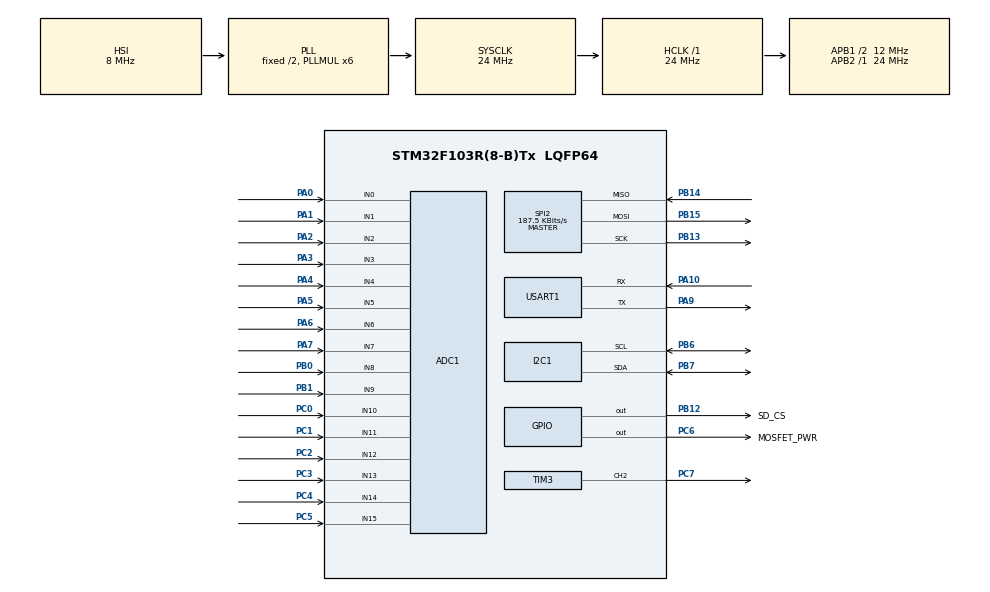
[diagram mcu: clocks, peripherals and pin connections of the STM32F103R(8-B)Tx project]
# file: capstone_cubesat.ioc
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ADC1.Channel-0\#ChannelRegularConversion=ADC_CHANNEL_0
ADC1.ContinuousConvMode=DISABLE
ADC1.EnableAnalogWatchDog=false
ADC1.NbrOfConversion=1
ADC1.NbrOfConversionFlag=1
ADC1.Rank-0\#ChannelRegularConversion=1
ADC1.SamplingTime-0\#ChannelRegularConversion=ADC_SAMPLETIME_7CYCLES_5
ADC1.master=1
I2C1.GeneralCallMode=I2C_GENERALCALL_DISABLE
I2C1.OwnAddress=0x13
Mcu.Family=STM32F1
Mcu.Name=STM32F103R(8-B)Tx
Mcu.Package=LQFP64
NVIC.I2C1_ER_IRQn=true\:0\:0\:false\:false\:true\:true\:true\:true
NVIC.I2C1_EV_IRQn=true\:0\:0\:false\:false\:true\:true\:true\:true
NVIC.PriorityGroup=NVIC_PRIORITYGROUP_4
NVIC.TIM2_IRQn=true\:0\:0\:false\:false\:true\:true\:true\:true
PA0-WKUP.Signal=ADCx_IN0
PA1.Signal=ADCx_IN1
PA10.Mode=Asynchronous
PA10.Signal=USART1_RX
PA13.GPIO_Label=TMS
PA13.Mode=Serial_Wire
PA13.Signal=SYS_JTMS-SWDIO
PA14.GPIO_Label=TCK
PA14.Mode=Serial_Wire
PA14.Signal=SYS_JTCK-SWCLK
PA2.Signal=ADCx_IN2
PA3.Signal=ADCx_IN3
PA4.Signal=ADCx_IN4
PA5.Signal=ADCx_IN5
PA6.Signal=ADCx_IN6
PA7.Signal=ADCx_IN7
PA9.Mode=Asynchronous
PA9.Signal=USART1_TX
PB0.Signal=ADCx_IN8
PB1.Signal=ADCx_IN9
PB12.GPIO_Label=SD_CS
PB12.Signal=GPIO_Output
PB13.Mode=Full_Duplex_Master
PB13.Signal=SPI2_SCK
PB14.Mode=Full_Duplex_Master
PB14.Signal=SPI2_MISO
PB15.Mode=Full_Duplex_Master
PB15.Signal=SPI2_MOSI
PB3.GPIO_Label=SWO
PB3.Signal=SYS_JTDO-TRACESWO
PB6.Mode=I2C
PB6.Signal=I2C1_SCL
PB7.Mode=I2C
PB7.Signal=I2C1_SDA
PC0.Signal=ADCx_IN10
PC1.Signal=ADCx_IN11
PC14-OSC32_IN.Mode=LSE-External-Oscillator
PC14-OSC32_IN.Signal=RCC_OSC32_IN
PC15-OSC32_OUT.Mode=LSE-External-Oscillator
PC15-OSC32_OUT.Signal=RCC_OSC32_OUT
PC2.Signal=ADCx_IN12
PC3.Signal=ADCx_IN13
PC4.Signal=ADCx_IN14
PC5.Signal=ADCx_IN15
PC6.GPIO_Label=MOSFET_PWR
PC6.Signal=GPIO_Output
PC7.Signal=S_TIM3_CH2
PD0-OSC_IN.Mode=HSE-External-Clock-Source
PD0-OSC_IN.Signal=RCC_OSC_IN
PD1-OSC_OUT.Mode=HSE-External-Clock-Source
PD1-OSC_OUT.Signal=RCC_OSC_OUT
ProjectManager.HeapSize=0x200
ProjectManager.StackSize=0x400
ProjectManager.TargetToolchain=STM32CubeIDE
RCC.AHBFreq_Value=24000000
RCC.APB1CLKDivider=RCC_HCLK_DIV2
RCC.APB1Freq_Value=12000000
RCC.APB1TimFreq_Value=24000000
RCC.APB2Freq_Value=24000000
RCC.APB2TimFreq_Value=24000000
RCC.HCLKFreq_Value=24000000
RCC.PLLMUL=RCC_PLL_MUL6
RCC.SYSCLKFreq_VALUE=24000000
RCC.SYSCLKSource=RCC_SYSCLKSOURCE_PLLCLK
RCC.USBFreq_Value=24000000
RTC.Date=23
RTC.Hours=21
RTC.Minutes=16
RTC.Month=RTC_MONTH_APRIL
RTC.OutPut=RTC_OUTPUTSOURCE_NONE
RTC.Year=25
SH.ADCx_IN0.0=ADC1_IN0,IN0
SH.ADCx_IN1.0=ADC1_IN1,IN1
SH.ADCx_IN10.0=ADC1_IN10,IN10
SH.ADCx_IN11.0=ADC1_IN11,IN11
SH.ADCx_IN12.0=ADC1_IN12,IN12
SH.ADCx_IN13.0=ADC1_IN13,IN13
SH.ADCx_IN14.0=ADC1_IN14,IN14
SH.ADCx_IN15.0=ADC1_IN15,IN15
SH.ADCx_IN2.0=ADC1_IN2,IN2
SH.ADCx_IN3.0=ADC1_IN3,IN3
SH.ADCx_IN4.0=ADC1_IN4,IN4
SH.ADCx_IN5.0=ADC1_IN5,IN5
SH.ADCx_IN6.0=ADC1_IN6,IN6
SH.ADCx_IN7.0=ADC1_IN7,IN7
SH.ADCx_IN8.0=ADC1_IN8,IN8
SH.ADCx_IN9.0=ADC1_IN9,IN9
SH.S_TIM3_CH2.0=TIM3_CH2,PWM Generation2 CH2
SPI2.BaudRatePrescaler=SPI_BAUDRATEPRESCALER_64
SPI2.CalculateBaudRate=187.5 KBits/s
SPI2.Direction=SPI_DIRECTION_2LINES
SPI2.Mode=SPI_MODE_MASTER
SPI2.VirtualType=VM_MASTER
TIM1.Prescaler=24-1
TIM2.Period=43200-1
TIM3.Channel-PWM\ Generation2\ CH2=TIM_CHANNEL_2
TIM3.Period=100-1
TIM3.Prescaler=2400-1
TIM4.Period=1000-1
TIM4.Prescaler=24000-1
TIM4.TIM_MasterOutputTrigger=TIM_TRGO_UPDATE
USART1.VirtualMode=VM_ASYNC
VP_FATFS_VS_Generic.Mode=User_defined
VP_RTC_No_RTC_Output.Mode=RTC_OUT_NO
VP_RTC_VS_RTC_Activate.Mode=RTC_Enabled
VP_RTC_VS_RTC_Calendar.Mode=RTC_Calendar
VP_TIM1_VS_ClockSourceINT.Mode=Internal
VP_TIM2_VS_ClockSourceITR.Mode=TriggerSource_ITR3
VP_TIM2_VS_ControllerModeClock.Mode=Clock Mode
VP_TIM3_VS_ClockSourceINT.Mode=Internal
VP_TIM4_VS_ClockSourceINT.Mode=Internal
board=NUCLEO-F103RB

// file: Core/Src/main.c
/* USER CODE BEGIN Header */
/**
 ******************************************************************************
 * @file           : main.c
 * @brief          : Main program body
 ******************************************************************************
 * @attention
 *
 * Copyright (c) 2024 STMicroelectronics.
 * All rights reserved.
 *
 * This software is licensed under terms that can be found in the LICENSE file
 * in the root directory of this software component.
 * If no LICENSE file comes with this software, it is provided AS-IS.
 *
 ******************************************************************************
 */
/* USER CODE END Header */
#include "main.h"
#include "fatfs.h"

/* USER CODE BEGIN Includes */
#include "sdcard.h"
#include "i2c_slave.h"
#include "adc.h"
#include "i2c_queue.h"
/* USER CODE END Includes */

ADC_HandleTypeDef hadc1;

I2C_HandleTypeDef hi2c1;

RTC_HandleTypeDef hrtc;

SPI_HandleTypeDef hspi2;

TIM_HandleTypeDef htim1;
TIM_HandleTypeDef htim2;
TIM_HandleTypeDef htim3;
TIM_HandleTypeDef htim4;

UART_HandleTypeDef huart1;

void SystemClock_Config(void);
static void MX_GPIO_Init(void);
static void MX_USART1_UART_Init(void);
static void MX_ADC1_Init(void);
static void MX_SPI2_Init(void);
static void MX_TIM3_Init(void);
static void MX_TIM1_Init(void);
static void MX_I2C1_Init(void);
static void MX_TIM2_Init(void);
static void MX_TIM4_Init(void);
static void MX_RTC_Init(void);
/* USER CODE BEGIN PFP */
#ifdef __GNUC__
#define PUTCHAR_PROTOTYPE int __io_putchar(int ch)
#else
#define PUTCHAR_PROTOTYPE int fputc(int ch, FILE *f)
#endif

PUTCHAR_PROTOTYPE {
	HAL_UART_Transmit(&huart1, (uint8_t*) &ch, 1, HAL_MAX_DELAY);
	return ch;
}
/* USER CODE END PFP */

/* USER CODE BEGIN 0 */

/*//old interrupt to wake system up using a push button
 void HAL_GPIO_EXTI_Callback(uint16_t GPIO_Pin)
 {
 HAL_ResumeTick();
 }
 */

volatile uint8_t timer_flag = 0;
static volatile uint8_t busyFlag = 0;

uint8_t busy_flag_getter()
{
	return busyFlag;
}

void HAL_TIM_PeriodElapsedCallback(TIM_HandleTypeDef *htim)
{
	//HAL_ResumeTick();
    if (htim->Instance == TIM2)
    {
        // TIM4 just overflowed -> 12 hours elapsed
        // Do your code here
    	if (busyFlag == false){
    		timer_flag = 1;
    	}
    }
}

void turn_on_5v_plane(void) {
	// turn on +5v plane
	HAL_GPIO_WritePin(GPIOC, GPIO_PIN_6, GPIO_PIN_SET);
}

void turn_off_5v_plane(void) {
	// turn off +5v plane
	HAL_GPIO_WritePin(GPIOC, GPIO_PIN_6, GPIO_PIN_RESET);
}

//turn on at the beginning of the main function, when the system go out of the power saving mode
//turn off when the system going into the power saving mode
void turn_on_PWM_gen(void) {
	HAL_TIM_PWM_Start(&htim3, TIM_CHANNEL_2);
	TIM3->CCR2 = 50;
}

void turn_off_PWM_gen(void) {
	HAL_TIM_PWM_Stop(&htim3, TIM_CHANNEL_2);
}

void main_routine(void) {
	busyFlag = 1;
	printf("fully initialized, +5V devices off, delaying 5 seconds\r\n");
	HAL_Delay(5000);

	printf("busy=%u\r\n", busy_flag_getter());
	//turn_on_5v_plane();

	printf("+5V device powered, delaying 5 seconds\r\n");
	HAL_Delay(5000);

	//--------------------------- start cycle

	mount_sdcard();
	print_sdcard_stats();

	// keep the filename as short as possible
	// e.g. "sample" can only write 10 files before it doesnt want to make anymore
	// this is a bug
	open_sdcard_file_write("s");

	// may need to keep small or increase max size in write function if this gets too long
	//need to add a time stamp when the data was recorded
	write_sdcard_file(
			"op_noshd_p,op_mel_p,op_al_p,vref_noshd,vref_mel,vref_al,lm35,opto_noshd,opto_mel,opto_al\r\n");

	const uint32_t num_samples = 5; // 2sec 450 samples = 15minutes

	for (int cnt = 0; cnt < num_samples; cnt++) {

		// order is very important here, since it correlates to order of data written to csv
		preform_opamp_measurement_log_to_sd();
		printf("------------------------------\r\n");
		preform_vref_measurement_log_to_sd();
		printf("------------------------------\r\n");
		read_lm35();
		printf("------------------------------\r\n");
		preform_opto_measurement_log_to_sd();
		printf("------------------------------\r\n");

		// new row
		write_sdcard_file("\r\n");
		HAL_Delay(2000);
	}

	printf("all done\r\n");

	close_sdcard_file();

	// always do this after testing is done so if power is cut, no data is lost
	unmount_sdcard();

	//turn_off_5v_plane();

	//printf("+5V devices off, delaying 5 seconds\r\n");
	HAL_Delay(5000);

	//------------------------- end cycle

	printf("Entering sleep mode, delaying 5 seconds\r\n");
	printf("busy=%u\r\n", busy_flag_getter());
	HAL_Delay(5000);
	busyFlag = 0;
	i2c_set_busy(0);
	i2c_set_ready(1);
}

/* USER CODE END 0 */

int main(void)
{

  /* MCU Configuration--------------------------------------------------------*/

  /* Reset of all peripherals, Initializes the Flash interface and the Systick. */
  HAL_Init();

  /* Configure the system clock */
  SystemClock_Config();

  /* Initialize all configured peripherals */
  MX_GPIO_Init();
  MX_USART1_UART_Init();
  MX_ADC1_Init();
  MX_SPI2_Init();
  MX_FATFS_Init();
  MX_TIM3_Init();
  MX_TIM1_Init();
  MX_I2C1_Init();
  MX_TIM2_Init();
  MX_TIM4_Init();
  MX_RTC_Init();
  /* USER CODE BEGIN 2 */

	//a short delay is important to let the SD card settle
	HAL_Delay(1000);

	HAL_TIM_Base_Start(&htim1);

	// obc enable interrupt listen
	HAL_I2C_EnableListen_IT(&hi2c1);

	// Start TIM2 (master)
	HAL_TIM_Base_Start(&htim4);
	// Start TIM4 (slave) with interrupt
	HAL_TIM_Base_Start_IT(&htim2);

	turn_on_PWM_gen();

	turn_on_5v_plane();

	printf("Entering the main function\r\n");
	//TODO: Needed else the main routine will be executed once when entering the while 1 loop
	timer_flag = 0;
	i2c_flag_reset();
	busyFlag = 0;

	//printf("loading buffer\r\n");
	//load_buf();

  /* USER CODE END 2 */

  /* Infinite loop */
	while (1) {

    /* USER CODE BEGIN 3 */
		//Will be replaced with an interrupt based routine
		//The system wakes up from the sleep every 12 hrs and perform the routine
		//the sleep is interruptible by the i2c commands
		/*
		 * TODO
		 * Load the latest data collected and error logs to the buffers
		 * */
		//when programming please comment out this suspendtick
		//else it is going to be a nightmare to load code onto the stm
		//HAL_SuspendTick();
		if(!is_i2c_cmd_pending())
		{HAL_PWR_EnterSLEEPMode(PWR_MAINREGULATOR_ON, PWR_SLEEPENTRY_WFI);
		// wake up when there is an interrupt
		HAL_ResumeTick();}
		uint8_t i2c_flag_main = i2c_flag_getter();

		if (!busy_flag_getter() && is_i2c_cmd_pending())
		{
			if (is_i2c_reinit_needed && !busy_flag_getter()) {
				is_i2c_reinit_needed = 0;
			    HAL_I2C_DeInit(&hi2c1);
			    MX_I2C1_Init();
			    HAL_I2C_EnableListen_IT(&hi2c1);
			}

			uint8_t current_cmd = dequeue_i2c_cmd();
			switch(current_cmd)
			{
				case I2C_CMD_START:
					busyFlag = 1;
					i2c_set_busy(1);
					i2c_set_ready(0);
					main_routine();
					timer_flag = 0;
					i2c_flag_reset();
					busyFlag = 0;
					break;
				case I2C_CMD_SEND_DATA:
					busyFlag = 1;
					printf("loading buffer\r\n");
					load_buf();
					i2c_flag_reset();
					busyFlag = 0;
					break;
		        case I2C_CMD_PWRSAV: // turn off the 5V supply for the testing ICs
		        	turn_off_5v_plane();
		        	pwr_flag_setter(PWR_SAV);
		        	HAL_TIM_Base_Stop_IT(&htim2);
		            break;
		        case I2C_CMD_PWRNOR:
		        	turn_on_5v_plane();
		        	pwr_flag_setter(PWR_NOR);
		        	HAL_TIM_Base_Start_IT(&htim2);
		        	break;
		        case I2C_CMD_RESET:
		            HAL_NVIC_SystemReset();
		            break;
			}
		}
		if(timer_flag)
		{
			busyFlag = 1;
			main_routine();
			timer_flag = 0;
			i2c_flag_reset();
			busyFlag = 0;
		}
		if(pwr_flag_getter())
		{
			printf("power saving mode\r\n");
		}
	}
  /* USER CODE END 3 */
}

void SystemClock_Config(void)
{
  RCC_OscInitTypeDef RCC_OscInitStruct = {0};
  RCC_ClkInitTypeDef RCC_ClkInitStruct = {0};
  RCC_PeriphCLKInitTypeDef PeriphClkInit = {0};

  /** Initializes the RCC Oscillators according to the specified parameters
  * in the RCC_OscInitTypeDef structure.
  */
  RCC_OscInitStruct.OscillatorType = RCC_OSCILLATORTYPE_HSI|RCC_OSCILLATORTYPE_LSI;
  RCC_OscInitStruct.HSIState = RCC_HSI_ON;
  RCC_OscInitStruct.HSICalibrationValue = RCC_HSICALIBRATION_DEFAULT;
  RCC_OscInitStruct.LSIState = RCC_LSI_ON;
  RCC_OscInitStruct.PLL.PLLState = RCC_PLL_ON;
  RCC_OscInitStruct.PLL.PLLSource = RCC_PLLSOURCE_HSI_DIV2;
  RCC_OscInitStruct.PLL.PLLMUL = RCC_PLL_MUL6;
  if (HAL_RCC_OscConfig(&RCC_OscInitStruct) != HAL_OK)
  {
    Error_Handler();
  }

  /** Initializes the CPU, AHB and APB buses clocks
  */
  RCC_ClkInitStruct.ClockType = RCC_CLOCKTYPE_HCLK|RCC_CLOCKTYPE_SYSCLK
                              |RCC_CLOCKTYPE_PCLK1|RCC_CLOCKTYPE_PCLK2;
  RCC_ClkInitStruct.SYSCLKSource = RCC_SYSCLKSOURCE_PLLCLK;
  RCC_ClkInitStruct.AHBCLKDivider = RCC_SYSCLK_DIV1;
  RCC_ClkInitStruct.APB1CLKDivider = RCC_HCLK_DIV2;
  RCC_ClkInitStruct.APB2CLKDivider = RCC_HCLK_DIV1;

  if (HAL_RCC_ClockConfig(&RCC_ClkInitStruct, FLASH_LATENCY_0) != HAL_OK)
  {
    Error_Handler();
  }
  PeriphClkInit.PeriphClockSelection = RCC_PERIPHCLK_RTC|RCC_PERIPHCLK_ADC;
  PeriphClkInit.RTCClockSelection = RCC_RTCCLKSOURCE_LSI;
  PeriphClkInit.AdcClockSelection = RCC_ADCPCLK2_DIV2;
  if (HAL_RCCEx_PeriphCLKConfig(&PeriphClkInit) != HAL_OK)
  {
    Error_Handler();
  }
}

static void MX_ADC1_Init(void)
{

  ADC_ChannelConfTypeDef sConfig = {0};

  /** Common config
  */
  hadc1.Instance = ADC1;
  hadc1.Init.ScanConvMode = ADC_SCAN_DISABLE;
  hadc1.Init.ContinuousConvMode = DISABLE;
  hadc1.Init.DiscontinuousConvMode = DISABLE;
  hadc1.Init.ExternalTrigConv = ADC_SOFTWARE_START;
  hadc1.Init.DataAlign = ADC_DATAALIGN_RIGHT;
  hadc1.Init.NbrOfConversion = 1;
  if (HAL_ADC_Init(&hadc1) != HAL_OK)
  {
    Error_Handler();
  }

  /** Configure Regular Channel
  */
  sConfig.Channel = ADC_CHANNEL_0;
  sConfig.Rank = ADC_REGULAR_RANK_1;
  sConfig.SamplingTime = ADC_SAMPLETIME_7CYCLES_5;
  if (HAL_ADC_ConfigChannel(&hadc1, &sConfig) != HAL_OK)
  {
    Error_Handler();
  }

}

static void MX_I2C1_Init(void)
{

  hi2c1.Instance = I2C1;
  hi2c1.Init.ClockSpeed = 100000;
  hi2c1.Init.DutyCycle = I2C_DUTYCYCLE_2;
  hi2c1.Init.OwnAddress1 = 38;
  hi2c1.Init.AddressingMode = I2C_ADDRESSINGMODE_7BIT;
  hi2c1.Init.DualAddressMode = I2C_DUALADDRESS_DISABLE;
  hi2c1.Init.OwnAddress2 = 0;
  hi2c1.Init.GeneralCallMode = I2C_GENERALCALL_DISABLE;
  hi2c1.Init.NoStretchMode = I2C_NOSTRETCH_DISABLE;
  if (HAL_I2C_Init(&hi2c1) != HAL_OK)
  {
    Error_Handler();
  }

}

static void MX_RTC_Init(void)
{

  RTC_TimeTypeDef sTime = {0};
  RTC_DateTypeDef DateToUpdate = {0};

  /** Initialize RTC Only
  */
  hrtc.Instance = RTC;
  hrtc.Init.AsynchPrediv = RTC_AUTO_1_SECOND;
  hrtc.Init.OutPut = RTC_OUTPUTSOURCE_NONE;
  if (HAL_RTC_Init(&hrtc) != HAL_OK)
  {
    Error_Handler();
  }

  /** Initialize RTC and set the Time and Date
  */
  sTime.Hours = 0x21;
  sTime.Minutes = 0x16;
  sTime.Seconds = 0x0;

  if (HAL_RTC_SetTime(&hrtc, &sTime, RTC_FORMAT_BCD) != HAL_OK)
  {
    Error_Handler();
  }
  DateToUpdate.WeekDay = RTC_WEEKDAY_MONDAY;
  DateToUpdate.Month = RTC_MONTH_APRIL;
  DateToUpdate.Date = 0x23;
  DateToUpdate.Year = 0x25;

  if (HAL_RTC_SetDate(&hrtc, &DateToUpdate, RTC_FORMAT_BCD) != HAL_OK)
  {
    Error_Handler();
  }

}

static void MX_SPI2_Init(void)
{

  /* SPI2 parameter configuration*/
  hspi2.Instance = SPI2;
  hspi2.Init.Mode = SPI_MODE_MASTER;
  hspi2.Init.Direction = SPI_DIRECTION_2LINES;
  hspi2.Init.DataSize = SPI_DATASIZE_8BIT;
  hspi2.Init.CLKPolarity = SPI_POLARITY_LOW;
  hspi2.Init.CLKPhase = SPI_PHASE_1EDGE;
  hspi2.Init.NSS = SPI_NSS_SOFT;
  hspi2.Init.BaudRatePrescaler = SPI_BAUDRATEPRESCALER_64;
  hspi2.Init.FirstBit = SPI_FIRSTBIT_MSB;
  hspi2.Init.TIMode = SPI_TIMODE_DISABLE;
  hspi2.Init.CRCCalculation = SPI_CRCCALCULATION_DISABLE;
  hspi2.Init.CRCPolynomial = 10;
  if (HAL_SPI_Init(&hspi2) != HAL_OK)
  {
    Error_Handler();
  }

}

static void MX_TIM1_Init(void)
{

  TIM_ClockConfigTypeDef sClockSourceConfig = {0};
  TIM_MasterConfigTypeDef sMasterConfig = {0};

  htim1.Instance = TIM1;
  htim1.Init.Prescaler = 24-1;
  htim1.Init.CounterMode = TIM_COUNTERMODE_UP;
  htim1.Init.Period = 65535;
  htim1.Init.ClockDivision = TIM_CLOCKDIVISION_DIV1;
  htim1.Init.RepetitionCounter = 0;
  htim1.Init.AutoReloadPreload = TIM_AUTORELOAD_PRELOAD_DISABLE;
  if (HAL_TIM_Base_Init(&htim1) != HAL_OK)
  {
    Error_Handler();
  }
  sClockSourceConfig.ClockSource = TIM_CLOCKSOURCE_INTERNAL;
  if (HAL_TIM_ConfigClockSource(&htim1, &sClockSourceConfig) != HAL_OK)
  {
    Error_Handler();
  }
  sMasterConfig.MasterOutputTrigger = TIM_TRGO_RESET;
  sMasterConfig.MasterSlaveMode = TIM_MASTERSLAVEMODE_DISABLE;
  if (HAL_TIMEx_MasterConfigSynchronization(&htim1, &sMasterConfig) != HAL_OK)
  {
    Error_Handler();
  }

}

static void MX_TIM2_Init(void)
{

  TIM_SlaveConfigTypeDef sSlaveConfig = {0};
  TIM_MasterConfigTypeDef sMasterConfig = {0};

  htim2.Instance = TIM2;
  htim2.Init.Prescaler = 0;
  htim2.Init.CounterMode = TIM_COUNTERMODE_UP;
  htim2.Init.Period = 43200-1;
  htim2.Init.ClockDivision = TIM_CLOCKDIVISION_DIV1;
  htim2.Init.AutoReloadPreload = TIM_AUTORELOAD_PRELOAD_DISABLE;
  if (HAL_TIM_Base_Init(&htim2) != HAL_OK)
  {
    Error_Handler();
  }
  sSlaveConfig.SlaveMode = TIM_SLAVEMODE_EXTERNAL1;
  sSlaveConfig.InputTrigger = TIM_TS_ITR3;
  if (HAL_TIM_SlaveConfigSynchro(&htim2, &sSlaveConfig) != HAL_OK)
  {
    Error_Handler();
  }
  sMasterConfig.MasterOutputTrigger = TIM_TRGO_RESET;
  sMasterConfig.MasterSlaveMode = TIM_MASTERSLAVEMODE_DISABLE;
  if (HAL_TIMEx_MasterConfigSynchronization(&htim2, &sMasterConfig) != HAL_OK)
  {
    Error_Handler();
  }

}

static void MX_TIM3_Init(void)
{

  TIM_ClockConfigTypeDef sClockSourceConfig = {0};
  TIM_MasterConfigTypeDef sMasterConfig = {0};
  TIM_OC_InitTypeDef sConfigOC = {0};

  htim3.Instance = TIM3;
  htim3.Init.Prescaler = 2400-1;
  htim3.Init.CounterMode = TIM_COUNTERMODE_UP;
  htim3.Init.Period = 100-1;
  htim3.Init.ClockDivision = TIM_CLOCKDIVISION_DIV1;
  htim3.Init.AutoReloadPreload = TIM_AUTORELOAD_PRELOAD_DISABLE;
  if (HAL_TIM_Base_Init(&htim3) != HAL_OK)
  {
    Error_Handler();
  }
  sClockSourceConfig.ClockSource = TIM_CLOCKSOURCE_INTERNAL;
  if (HAL_TIM_ConfigClockSource(&htim3, &sClockSourceConfig) != HAL_OK)
  {
    Error_Handler();
  }
  if (HAL_TIM_PWM_Init(&htim3) != HAL_OK)
  {
    Error_Handler();
  }
  sMasterConfig.MasterOutputTrigger = TIM_TRGO_RESET;
  sMasterConfig.MasterSlaveMode = TIM_MASTERSLAVEMODE_DISABLE;
  if (HAL_TIMEx_MasterConfigSynchronization(&htim3, &sMasterConfig) != HAL_OK)
  {
    Error_Handler();
  }
  sConfigOC.OCMode = TIM_OCMODE_PWM1;
  sConfigOC.Pulse = 0;
  sConfigOC.OCPolarity = TIM_OCPOLARITY_HIGH;
  sConfigOC.OCFastMode = TIM_OCFAST_DISABLE;
  if (HAL_TIM_PWM_ConfigChannel(&htim3, &sConfigOC, TIM_CHANNEL_2) != HAL_OK)
  {
    Error_Handler();
  }
  HAL_TIM_MspPostInit(&htim3);

}

static void MX_TIM4_Init(void)
{

  TIM_ClockConfigTypeDef sClockSourceConfig = {0};
  TIM_MasterConfigTypeDef sMasterConfig = {0};

  htim4.Instance = TIM4;
  htim4.Init.Prescaler = 24000-1;
  htim4.Init.CounterMode = TIM_COUNTERMODE_UP;
  htim4.Init.Period = 1000-1;
  htim4.Init.ClockDivision = TIM_CLOCKDIVISION_DIV1;
  htim4.Init.AutoReloadPreload = TIM_AUTORELOAD_PRELOAD_DISABLE;
  if (HAL_TIM_Base_Init(&htim4) != HAL_OK)
  {
    Error_Handler();
  }
  sClockSourceConfig.ClockSource = TIM_CLOCKSOURCE_INTERNAL;
  if (HAL_TIM_ConfigClockSource(&htim4, &sClockSourceConfig) != HAL_OK)
  {
    Error_Handler();
  }
  sMasterConfig.MasterOutputTrigger = TIM_TRGO_UPDATE;
  sMasterConfig.MasterSlaveMode = TIM_MASTERSLAVEMODE_DISABLE;
  if (HAL_TIMEx_MasterConfigSynchronization(&htim4, &sMasterConfig) != HAL_OK)
  {
    Error_Handler();
  }

}

static void MX_USART1_UART_Init(void)
{

  huart1.Instance = USART1;
  huart1.Init.BaudRate = 115200;
  huart1.Init.WordLength = UART_WORDLENGTH_8B;
  huart1.Init.StopBits = UART_STOPBITS_1;
  huart1.Init.Parity = UART_PARITY_NONE;
  huart1.Init.Mode = UART_MODE_TX_RX;
  huart1.Init.HwFlowCtl = UART_HWCONTROL_NONE;
  huart1.Init.OverSampling = UART_OVERSAMPLING_16;
  if (HAL_UART_Init(&huart1) != HAL_OK)
  {
    Error_Handler();
  }

}

static void MX_GPIO_Init(void)
{
  GPIO_InitTypeDef GPIO_InitStruct = {0};

  /* GPIO Ports Clock Enable */
  __HAL_RCC_GPIOC_CLK_ENABLE();
  __HAL_RCC_GPIOD_CLK_ENABLE();
  __HAL_RCC_GPIOA_CLK_ENABLE();
  __HAL_RCC_GPIOB_CLK_ENABLE();

  /*Configure GPIO pin Output Level */
  HAL_GPIO_WritePin(SD_CS_GPIO_Port, SD_CS_Pin, GPIO_PIN_RESET);

  /*Configure GPIO pin Output Level */
  HAL_GPIO_WritePin(MOSFET_PWR_GPIO_Port, MOSFET_PWR_Pin, GPIO_PIN_RESET);

  /*Configure GPIO pin : SD_CS_Pin */
  GPIO_InitStruct.Pin = SD_CS_Pin;
  GPIO_InitStruct.Mode = GPIO_MODE_OUTPUT_PP;
  GPIO_InitStruct.Pull = GPIO_NOPULL;
  GPIO_InitStruct.Speed = GPIO_SPEED_FREQ_LOW;
  HAL_GPIO_Init(SD_CS_GPIO_Port, &GPIO_InitStruct);

  /*Configure GPIO pin : MOSFET_PWR_Pin */
  GPIO_InitStruct.Pin = MOSFET_PWR_Pin;
  GPIO_InitStruct.Mode = GPIO_MODE_OUTPUT_PP;
  GPIO_InitStruct.Pull = GPIO_NOPULL;
  GPIO_InitStruct.Speed = GPIO_SPEED_FREQ_LOW;
  HAL_GPIO_Init(MOSFET_PWR_GPIO_Port, &GPIO_InitStruct);

}

void Error_Handler(void)
{
  /* USER CODE BEGIN Error_Handler_Debug */
		/* User can add his own implementation to report the HAL error return state */
	 NVIC_SystemReset();
//		__disable_irq();
//		while (1) {
//			printf("Bricked");
//			HAL_Delay(1000);
//		}
  /* USER CODE END Error_Handler_Debug */
}
